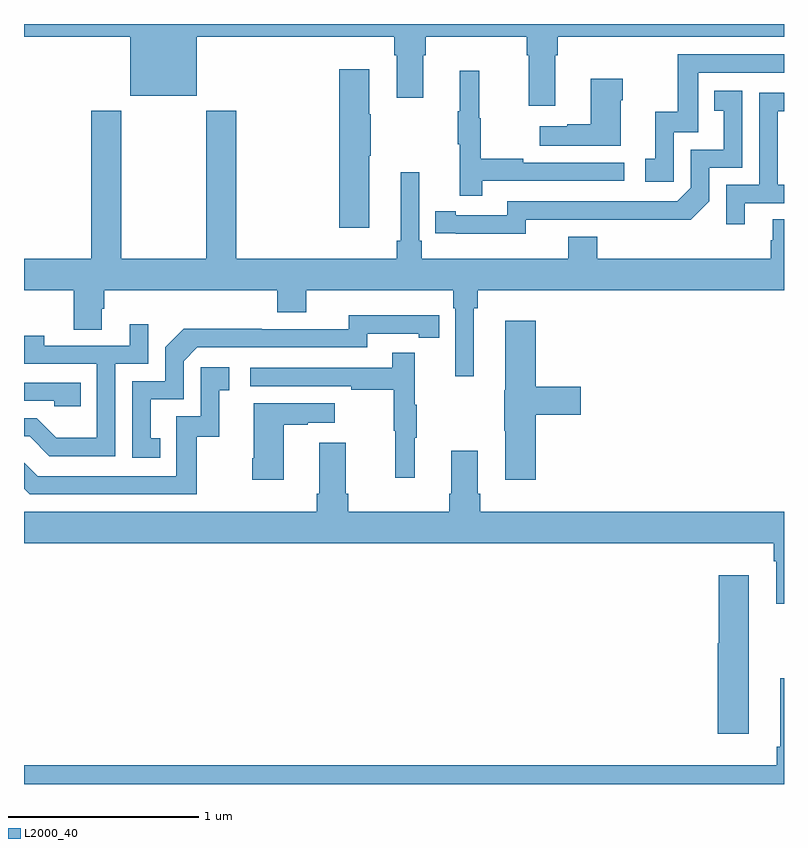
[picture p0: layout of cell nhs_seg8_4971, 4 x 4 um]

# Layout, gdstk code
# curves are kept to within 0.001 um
import gdstk
lib = gdstk.Library(unit=1e-6, precision=1e-09)
def P(c, l, *ps):  # polygons
    for p in ps: c.add(gdstk.Polygon(p, *l))
L2000_40 = (2000, 40)

nhs_seg8_4971 = lib.new_cell('nhs_seg8_4971')
P(nhs_seg8_4971, L2000_40, [(413.797,1117.736),(413.81,1117.736),(413.81,1117.832),(415,1117.832),(415,1117.9),(411,1117.9),(411,1117.832),(411.56,1117.832),(411.56,1117.523),(411.91,1117.523),(411.91,1117.832),(412.949,1117.832),(412.949,1117.736),(412.961,1117.736),(412.961,1117.512),(413.101,1117.512),(413.101,1117.736),(413.114,1117.736),(413.114,1117.832),(413.645,1117.832),(413.645,1117.736),(413.657,1117.736),(413.657,1117.47),(413.797,1117.47)],
  [(414.42,1117.329),(414.549,1117.329),(414.549,1117.644),(415,1117.644),(415,1117.74),(414.441,1117.74),(414.441,1117.438),(414.323,1117.438),(414.323,1117.191),(414.27,1117.191),(414.27,1117.071),(414.42,1117.071)],
  [(412.816,1117.207),(412.824,1117.207),(412.824,1117.424),(412.816,1117.424),(412.816,1117.663),(412.658,1117.663),(412.658,1116.828),(412.816,1116.828)],
  [(413.411,1117.074),(414.16,1117.074),(414.16,1117.17),(413.627,1117.17),(413.627,1117.19),(413.404,1117.19),(413.404,1117.404),(413.396,1117.404),(413.396,1117.654),(413.294,1117.654),(413.294,1117.441),(413.283,1117.441),(413.283,1117.267),(413.294,1117.267),(413.294,1116.996),(413.411,1116.996)],
  [(414.142,1117.499),(414.15,1117.499),(414.15,1117.612),(413.984,1117.612),(413.984,1117.373),(413.858,1117.373),(413.858,1117.363),(413.715,1117.363),(413.715,1117.259),(414.142,1117.259)],
  [(413.64,1116.87),(414.508,1116.869),(414.606,1116.966),(414.606,1117.143),(414.78,1117.143),(414.78,1117.549),(414.634,1117.549),(414.634,1117.443),(414.683,1117.443),(414.683,1117.239),(414.51,1117.239),(414.51,1117.038),(414.438,1116.966),(413.544,1116.966),(413.544,1116.894),(413.272,1116.894),(413.272,1116.914),(413.164,1116.914),(413.164,1116.798),(413.64,1116.797)],
  [(414.793,1116.957),(415,1116.957),(415,1117.053),(414.966,1117.053),(414.966,1117.442),(415,1117.442),(415,1117.539),(414.87,1117.539),(414.87,1117.053),(414.696,1117.053),(414.696,1116.846),(414.793,1116.846)],
  [(413.079,1116.76),(413.079,1117.12),(412.982,1117.12),(412.982,1116.76),(412.963,1116.76),(412.963,1116.664),(412.118,1116.664),(412.118,1117.444),(411.958,1117.444),(411.958,1116.664),(411.513,1116.664),(411.513,1117.444),(411.353,1117.444),(411.353,1116.664),(411,1116.664),(411,1116.5),(411.262,1116.5),(411.262,1116.292),(411.409,1116.292),(411.409,1116.402),(411.422,1116.402),(411.422,1116.5),(412.334,1116.5),(412.334,1116.383),(412.486,1116.383),(412.486,1116.5),(413.258,1116.5),(413.258,1116.404),(413.271,1116.404),(413.271,1116.045),(413.368,1116.045),(413.368,1116.404),(413.387,1116.404),(413.387,1116.5),(415,1116.5),(415,1116.872),(414.941,1116.872),(414.941,1116.762),(414.929,1116.762),(414.929,1116.664),(414.017,1116.664),(414.017,1116.781),(413.864,1116.781),(413.864,1116.664),(413.093,1116.664),(413.093,1116.76)],
  [(411.716,1115.721),(411.667,1115.721),(411.667,1115.925),(411.84,1115.925),(411.84,1116.126),(411.912,1116.198),(412.806,1116.198),(412.806,1116.27),(413.078,1116.27),(413.078,1116.25),(413.186,1116.25),(413.186,1116.366),(412.71,1116.367),(412.71,1116.294),(412.25,1116.294),(412.25,1116.296),(411.842,1116.296),(411.744,1116.198),(411.744,1116.021),(411.57,1116.021),(411.57,1115.616),(411.716,1115.616)],
  [(413.693,1115.843),(413.929,1115.843),(413.929,1115.99),(413.693,1115.99),(413.693,1116.337),(413.534,1116.337),(413.534,1115.973),(413.527,1115.973),(413.527,1115.759),(413.534,1115.759),(413.534,1115.502),(413.693,1115.502)],
  [(411.48,1116.111),(411.654,1116.111),(411.654,1116.319),(411.557,1116.319),(411.557,1116.207),(411.106,1116.207),(411.106,1116.259),(411,1116.259),(411,1116.111),(411.384,1116.111),(411.384,1115.722),(411.17,1115.722),(411.066,1115.826),(411,1115.826),(411,1115.73),(411.029,1115.73),(411.134,1115.625),(411.48,1115.625)],
  [(413.057,1115.723),(413.068,1115.723),(413.068,1115.897),(413.057,1115.897),(413.057,1116.169),(412.939,1116.169),(412.939,1116.09),(412.191,1116.09),(412.191,1115.994),(412.723,1115.994),(412.723,1115.974),(412.947,1115.974),(412.947,1115.76),(412.954,1115.76),(412.954,1115.511),(413.057,1115.511)],
  [(411.91,1115.727),(412.028,1115.727),(412.028,1115.973),(412.081,1115.973),(412.081,1116.094),(411.93,1116.094),(411.93,1115.835),(411.801,1115.835),(411.801,1115.52),(411.072,1115.52),(411,1115.592),(411,1115.454),(411.03,1115.424),(411.91,1115.424)],
  [(411.299,1116.012),(411,1116.012),(411,1115.916),(411.159,1115.916),(411.159,1115.889),(411.299,1115.889)],
  [(412.366,1115.791),(412.493,1115.791),(412.493,1115.801),(412.636,1115.801),(412.636,1115.905),(412.208,1115.905),(412.208,1115.614),(412.201,1115.614),(412.201,1115.502),(412.366,1115.502)],
  [(415,1115.332),(413.402,1115.332),(413.402,1115.428),(413.389,1115.428),(413.389,1115.653),(413.249,1115.653),(413.249,1115.428),(413.237,1115.428),(413.237,1115.332),(412.706,1115.332),(412.706,1115.428),(412.693,1115.428),(412.693,1115.695),(412.553,1115.695),(412.553,1115.428),(412.541,1115.428),(412.541,1115.332),(411,1115.332),(411,1115.168),(414.947,1115.168),(414.947,1115.072),(414.959,1115.072),(414.959,1114.848),(415,1114.848)],
  [(414.814,1114.999),(414.656,1114.999),(414.656,1114.641),(414.65,1114.641),(414.65,1114.164),(414.814,1114.164)],
  [(415,1114.456),(414.98,1114.456),(414.98,1114.096),(414.961,1114.096),(414.961,1114),(411,1114),(411,1113.9),(415,1113.9)])

lib.write_gds('nhs_seg8_4971.gds')
